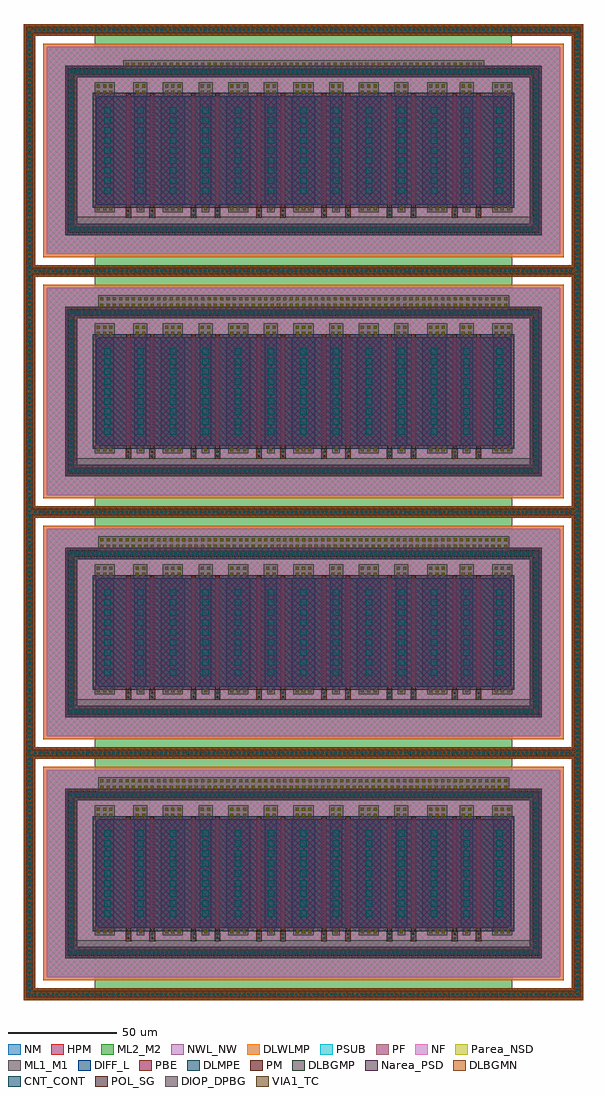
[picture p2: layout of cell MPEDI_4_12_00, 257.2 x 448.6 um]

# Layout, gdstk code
from math import pi, radians
import gdstk
lib = gdstk.Library(unit=1e-6, precision=1e-09)
def R(c, l, rs):  # rectangles x0, y0, x1, y1
    for r in rs: c.add(gdstk.rectangle(r[:2], r[2:], *l))
def A(c, l, x, y, w, h, nx, ny, dx, dy):  # array of equal rectangles
    R(c, l, [(x+i*dx, y+j*dy, x+i*dx+w, y+j*dy+h) for i in range(nx) for j in range(ny)])
def P(c, l, *ps):  # polygons
    for p in ps: c.add(gdstk.Polygon(p, *l))
DIFF_L = (3, 0)
NM = (7, 0)
POL_SG = (8, 0)
Narea_PSD = (9, 0)
CNT_CONT = (11, 0)
ML1_M1 = (13, 0)
VIA1_TC = (19, 0)
ML2_M2 = (20, 0)
NF = (25, 0)
PF = (26, 0)
Parea_NSD = (28, 0)
HPM = (33, 0)
PM = (35, 0)
NWL_NW = (36, 0)
DIOP_DPBG = (116, 0)
PSUB = (140, 0)
PBE = (146, 0)
DLWLMP = (150, 0)
DLMPE = (169, 0)
DLBGMP = (177, 0)
DLBGMN = (178, 0)

wlmp_cdns_696587145850 = lib.new_cell('WLMP_CDNS_696587145850')
R(wlmp_cdns_696587145850, NF, [(1.5,1.5,237.7,96.7)])
R(wlmp_cdns_696587145850, PF, [(1.5,1.5,237.7,96.7)])
R(wlmp_cdns_696587145850, NWL_NW, [(0,0,239.2,98.2)])
R(wlmp_cdns_696587145850, PSUB, [(1.5,1.5,237.7,96.7)])
R(wlmp_cdns_696587145850, DLWLMP, [(0,0,239.2,98.2)])

bgmp_cdns_696587145851 = lib.new_cell('BGMP_CDNS_696587145851')
R(bgmp_cdns_696587145851, DIFF_L, [(0,0,70,2.6)])
R(bgmp_cdns_696587145851, NM, [(-1.4,-1.4,71.4,4)])
R(bgmp_cdns_696587145851, Narea_PSD, [(-1.4,-1.4,71.4,4)])
A(bgmp_cdns_696587145851, CNT_CONT, 0.8, 0.8, 1, 1, 34, 1, 2, 0)
R(bgmp_cdns_696587145851, ML1_M1, [(0,0,70,2.6)])
R(bgmp_cdns_696587145851, HPM, [(-1.4,-1.4,71.4,4)])
R(bgmp_cdns_696587145851, PM, [(-1.4,-1.4,71.4,4)])

bgmp_cdns_696587145852 = lib.new_cell('BGMP_CDNS_696587145852')
R(bgmp_cdns_696587145852, DIFF_L, [(0,0,216.2,2.6)])
R(bgmp_cdns_696587145852, NM, [(-1.4,-1.4,217.6,4)])
R(bgmp_cdns_696587145852, Narea_PSD, [(-1.4,-1.4,217.6,4)])
A(bgmp_cdns_696587145852, CNT_CONT, 0.8, 0.8, 1, 1, 107, 1, 2, 0)
R(bgmp_cdns_696587145852, ML1_M1, [(0,0,216.2,2.6)])
R(bgmp_cdns_696587145852, HPM, [(-1.4,-1.4,217.6,4)])
R(bgmp_cdns_696587145852, PM, [(-1.4,-1.4,217.6,4)])

mpe_cdns_696587145853 = lib.new_cell('MPE_CDNS_696587145853')
R(mpe_cdns_696587145853, DIFF_L, [(10,0,12,50)])
P(mpe_cdns_696587145853, DIFF_L, [(12,0),(12,50),(24.6,50),(26,48.6),(26,1.4),(24.6,0)],
  [(1.4,0),(0,1.4),(0,48.6),(1.4,50),(10,50),(10,0)])
R(mpe_cdns_696587145853, NM, [(-1.4,-1.4,27.4,51.4)])
R(mpe_cdns_696587145853, POL_SG, [(10,-1.2,12,0), (10,-1.2,12,51.2), (10,50,12,51.2)])
A(mpe_cdns_696587145853, CNT_CONT, 4, 5.1, 3, 3, 1, 9, 0, 4.6)
A(mpe_cdns_696587145853, CNT_CONT, 19, 5.1, 3, 3, 1, 9, 0, 4.6)
R(mpe_cdns_696587145853, ML1_M1, [(2.8,0,8.2,50), (17.8,0,26,50)])
R(mpe_cdns_696587145853, Parea_NSD, [(-1.4,-1.4,27.4,51.4)])
R(mpe_cdns_696587145853, HPM, [(-1.4,-1.4,27.4,51.4)])
R(mpe_cdns_696587145853, DIOP_DPBG, [(10,0,12,50)])
R(mpe_cdns_696587145853, PBE, [(-1.4,-1.4,27.4,51.4)])
R(mpe_cdns_696587145853, DLMPE, [(-1.4,-1.4,27.4,51.4)])

tc14_cdns_696587145850 = lib.new_cell('TC14_CDNS_696587145850')
R(tc14_cdns_696587145850, ML1_M1, [(-82.9,-1.7,82.9,1.7)])
A(tc14_cdns_696587145850, VIA1_TC, -81.9, -0.7, 1.4, 1.4, 57, 1, 2.9, 0)
R(tc14_cdns_696587145850, ML2_M2, [(-82.9,-1.7,82.9,1.7)])

sgct_cdns_696587145851 = lib.new_cell('SGCT_CDNS_696587145851')
R(sgct_cdns_696587145851, POL_SG, [(-1.3,-2.3,1.3,2.3)])
R(sgct_cdns_696587145851, CNT_CONT, [(-0.5,-1.5,0.5,-0.5), (-0.5,0.5,0.5,1.5)])
R(sgct_cdns_696587145851, ML1_M1, [(-1.3,-2.3,1.3,2.3)])

tc14_cdns_696587145852 = lib.new_cell('TC14_CDNS_696587145852')
R(tc14_cdns_696587145852, ML1_M1, [(-4.6,-1.7,4.6,1.7)])
A(tc14_cdns_696587145852, VIA1_TC, -3.6, -0.7, 1.4, 1.4, 3, 1, 2.9, 0)
R(tc14_cdns_696587145852, ML2_M2, [(-4.6,-1.7,4.6,1.7)])

tc14_cdns_696587145853 = lib.new_cell('TC14_CDNS_696587145853')
R(tc14_cdns_696587145853, ML1_M1, [(-4.6,-3.1,4.6,3.2)])
A(tc14_cdns_696587145853, VIA1_TC, -3.6, -2.1, 1.4, 1.4, 3, 2, 2.9, 2.9)
R(tc14_cdns_696587145853, ML2_M2, [(-4.6,-3.1,4.6,3.2)])

tc14_cdns_696587145854 = lib.new_cell('TC14_CDNS_696587145854')
R(tc14_cdns_696587145854, ML1_M1, [(-1.7,-3.1,1.7,3.2)])
R(tc14_cdns_696587145854, VIA1_TC, [(-0.7,-2.1,0.7,-0.7), (-0.7,0.8,0.7,2.2)])
R(tc14_cdns_696587145854, ML2_M2, [(-1.7,-3.1,1.7,3.2)])

tc14_cdns_696587145855 = lib.new_cell('TC14_CDNS_696587145855')
R(tc14_cdns_696587145855, ML1_M1, [(-1.7,-1.7,1.7,1.7)])
R(tc14_cdns_696587145855, VIA1_TC, [(-0.7,-0.7,0.7,0.7)])
R(tc14_cdns_696587145855, ML2_M2, [(-1.7,-1.7,1.7,1.7)])

mpedi_12_00_int = lib.new_cell('MPEDI_12_00_int')
R(mpedi_12_00_int, POL_SG, [(38.1,22.7,40.1,22.9), (49.1,22.7,51.1,22.9), (68.1,22.7,70.1,22.9), (79.1,22.7,81.1,22.9), (98.1,22.7,100.1,22.9), (109.1,22.7,111.1,22.9), (128.1,22.7,130.1,22.9), (139.1,22.7,141.1,22.9), (158.1,22.7,160.1,22.9), (169.1,22.7,171.1,22.9), (188.1,22.7,190.1,22.9), (199.1,22.7,201.1,22.9)])
R(mpedi_12_00_int, ML1_M1, [(14.1,14.1,225.1,18.5)])
A(mpedi_12_00_int, ML2_M2, 55, 8.1, 9.2, 72.3, 4, 1, 30, 0)
A(mpedi_12_00_int, ML2_M2, 40, 20.7, 9.2, 69.8, 6, 1, 30, 0)
R(mpedi_12_00_int, ML2_M2, [(23.6,8.1,32.8,80.4), (23.6,8.1,25,9.5), (176.4,8.1,185.6,80.4), (206.4,8.1,215.6,80.4), (38,89.1,39.4,90.5)])
R(mpedi_12_00_int, DLBGMP, [(10.1,10.1,229.1,15.5), (10.1,12.7,15.5,85.5), (223.7,12.7,229.1,85.5), (10.1,82.7,229.1,88.1)])
mpedi_12_00_int.add(gdstk.FlexPath([(170.1,19.4),(170.1,17.2),(39.1,17.2),(39.1,19.4)], 2.6, ends="flush", simple_path=True, layer=13, datatype=0))  # ML1_M1
mpedi_12_00_int.add(gdstk.FlexPath([(226.4,11.1),(226.4,87.1)], 3.4, ends="flush", simple_path=True, layer=13, datatype=0))  # ML1_M1
mpedi_12_00_int.add(gdstk.FlexPath([(12.8,11.1),(12.8,87.1)], 3.4, ends="flush", simple_path=True, layer=13, datatype=0))  # ML1_M1
mpedi_12_00_int.add(gdstk.FlexPath([(11.1,85.4),(228.1,85.4)], 3.4, ends="flush", simple_path=True, layer=13, datatype=0))  # ML1_M1
mpedi_12_00_int.add(gdstk.FlexPath([(11.1,12.8),(228.1,12.8)], 3.4, ends="flush", simple_path=True, layer=13, datatype=0))  # ML1_M1
mpedi_12_00_int.add(gdstk.FlexPath([(215.6,9.6),(23.6,9.6)], 3, ends="flush", simple_path=True, layer=20, datatype=0))  # ML2_M2
mpedi_12_00_int.add(gdstk.Reference(wlmp_cdns_696587145850, (0,0)))
mpedi_12_00_int.add(gdstk.Reference(bgmp_cdns_696587145851, (14.1,14.1), rotation=pi/2))
mpedi_12_00_int.add(gdstk.Reference(bgmp_cdns_696587145851, (227.7,14.1), rotation=pi/2))
mpedi_12_00_int.add(gdstk.Reference(bgmp_cdns_696587145852, (11.5,11.5)))
mpedi_12_00_int.add(gdstk.Reference(bgmp_cdns_696587145852, (11.5,84.1)))
mpedi_12_00_int.add(gdstk.Reference(mpe_cdns_696587145853, (200.1,24.1), rotation=pi, x_reflection=True))
mpedi_12_00_int.add(gdstk.Reference(mpe_cdns_696587145853, (189.1,24.1)))
mpedi_12_00_int.add(gdstk.Reference(mpe_cdns_696587145853, (80.1,24.1), rotation=pi, x_reflection=True))
mpedi_12_00_int.add(gdstk.Reference(mpe_cdns_696587145853, (39.1,24.1)))
mpedi_12_00_int.add(gdstk.Reference(mpe_cdns_696587145853, (50.1,24.1), rotation=pi, x_reflection=True))
mpedi_12_00_int.add(gdstk.Reference(mpe_cdns_696587145853, (159.1,24.1)))
mpedi_12_00_int.add(gdstk.Reference(mpe_cdns_696587145853, (170.1,24.1), rotation=pi, x_reflection=True))
mpedi_12_00_int.add(gdstk.Reference(mpe_cdns_696587145853, (99.1,24.1)))
mpedi_12_00_int.add(gdstk.Reference(mpe_cdns_696587145853, (140.1,24.1), rotation=pi, x_reflection=True))
mpedi_12_00_int.add(gdstk.Reference(mpe_cdns_696587145853, (129.1,24.1)))
mpedi_12_00_int.add(gdstk.Reference(mpe_cdns_696587145853, (69.1,24.1)))
mpedi_12_00_int.add(gdstk.Reference(mpe_cdns_696587145853, (110.1,24.1), rotation=pi, x_reflection=True))
mpedi_12_00_int.add(gdstk.Reference(tc14_cdns_696587145850, (119.7,88.8)))
mpedi_12_00_int.add(gdstk.Reference(sgct_cdns_696587145851, (200.1,20.4)))
mpedi_12_00_int.add(gdstk.Reference(sgct_cdns_696587145851, (189.1,20.4)))
mpedi_12_00_int.add(gdstk.Reference(sgct_cdns_696587145851, (170.1,20.4)))
mpedi_12_00_int.add(gdstk.Reference(sgct_cdns_696587145851, (159.1,20.4)))
mpedi_12_00_int.add(gdstk.Reference(sgct_cdns_696587145851, (140.1,20.4)))
mpedi_12_00_int.add(gdstk.Reference(sgct_cdns_696587145851, (129.1,20.4)))
mpedi_12_00_int.add(gdstk.Reference(sgct_cdns_696587145851, (110.1,20.4)))
mpedi_12_00_int.add(gdstk.Reference(sgct_cdns_696587145851, (99.1,20.4)))
mpedi_12_00_int.add(gdstk.Reference(sgct_cdns_696587145851, (80.1,20.4)))
mpedi_12_00_int.add(gdstk.Reference(sgct_cdns_696587145851, (69.1,20.4)))
mpedi_12_00_int.add(gdstk.Reference(sgct_cdns_696587145851, (50.1,20.4)))
mpedi_12_00_int.add(gdstk.Reference(sgct_cdns_696587145851, (39.1,20.4)))
mpedi_12_00_int.add(gdstk.Reference(tc14_cdns_696587145852, (211,22.4)))
mpedi_12_00_int.add(gdstk.Reference(tc14_cdns_696587145852, (181,22.4)))
mpedi_12_00_int.add(gdstk.Reference(tc14_cdns_696587145852, (149.6,22.4)))
mpedi_12_00_int.add(gdstk.Reference(tc14_cdns_696587145852, (119.6,22.4)))
mpedi_12_00_int.add(gdstk.Reference(tc14_cdns_696587145852, (89.6,22.4)))
mpedi_12_00_int.add(gdstk.Reference(tc14_cdns_696587145852, (59.6,22.4)))
mpedi_12_00_int.add(gdstk.Reference(tc14_cdns_696587145852, (28.2,22.4)))
mpedi_12_00_int.add(gdstk.Reference(tc14_cdns_696587145853, (211,77.2)))
mpedi_12_00_int.add(gdstk.Reference(tc14_cdns_696587145853, (181,77.2)))
mpedi_12_00_int.add(gdstk.Reference(tc14_cdns_696587145853, (149.6,77.2)))
mpedi_12_00_int.add(gdstk.Reference(tc14_cdns_696587145853, (119.6,77.2)))
mpedi_12_00_int.add(gdstk.Reference(tc14_cdns_696587145853, (89.6,77.2)))
mpedi_12_00_int.add(gdstk.Reference(tc14_cdns_696587145853, (59.6,77.2)))
mpedi_12_00_int.add(gdstk.Reference(tc14_cdns_696587145853, (28.2,77.2)))
mpedi_12_00_int.add(gdstk.Reference(tc14_cdns_696587145854, (196.1,77.2)))
mpedi_12_00_int.add(gdstk.Reference(tc14_cdns_696587145854, (193.1,77.2)))
mpedi_12_00_int.add(gdstk.Reference(tc14_cdns_696587145854, (166.1,77.2)))
mpedi_12_00_int.add(gdstk.Reference(tc14_cdns_696587145854, (163.1,77.2)))
mpedi_12_00_int.add(gdstk.Reference(tc14_cdns_696587145854, (136.1,77.2)))
mpedi_12_00_int.add(gdstk.Reference(tc14_cdns_696587145854, (133.1,77.2)))
mpedi_12_00_int.add(gdstk.Reference(tc14_cdns_696587145854, (106.1,77.2)))
mpedi_12_00_int.add(gdstk.Reference(tc14_cdns_696587145854, (103.1,77.2)))
mpedi_12_00_int.add(gdstk.Reference(tc14_cdns_696587145854, (76.1,77.2)))
mpedi_12_00_int.add(gdstk.Reference(tc14_cdns_696587145854, (73.1,77.2)))
mpedi_12_00_int.add(gdstk.Reference(tc14_cdns_696587145854, (46.1,77.2)))
mpedi_12_00_int.add(gdstk.Reference(tc14_cdns_696587145854, (43.1,77.2)))
mpedi_12_00_int.add(gdstk.Reference(tc14_cdns_696587145855, (194.6,22.4)))
mpedi_12_00_int.add(gdstk.Reference(tc14_cdns_696587145855, (164.6,22.4)))
mpedi_12_00_int.add(gdstk.Reference(tc14_cdns_696587145855, (134.6,22.4)))
mpedi_12_00_int.add(gdstk.Reference(tc14_cdns_696587145855, (104.6,22.4)))
mpedi_12_00_int.add(gdstk.Reference(tc14_cdns_696587145855, (74.6,22.4)))
mpedi_12_00_int.add(gdstk.Reference(tc14_cdns_696587145855, (44.7,22.4)))

bgmn_cdns_696587074634 = lib.new_cell('BGMN_CDNS_696587074634')
R(bgmn_cdns_696587074634, DIFF_L, [(0,0,249.2,2.6)])
R(bgmn_cdns_696587074634, NM, [(-1.4,-1.4,250.6,4)])
A(bgmn_cdns_696587074634, CNT_CONT, 0.8, 0.8, 1, 1, 124, 1, 2, 0)
R(bgmn_cdns_696587074634, ML1_M1, [(0,0,249.2,2.6)])
R(bgmn_cdns_696587074634, Parea_NSD, [(-1.4,-1.4,250.6,4)])
R(bgmn_cdns_696587074634, HPM, [(-1.4,-1.4,250.6,4)])
R(bgmn_cdns_696587074634, PM, [(-1.4,-1.4,250.6,4)])

bgmn_cdns_696587074635 = lib.new_cell('BGMN_CDNS_696587074635')
R(bgmn_cdns_696587074635, DIFF_L, [(0,0,445.8,2.6)])
R(bgmn_cdns_696587074635, NM, [(-1.4,-1.4,447.2,4)])
A(bgmn_cdns_696587074635, CNT_CONT, 0.8, 0.8, 1, 1, 222, 1, 2, 0)
R(bgmn_cdns_696587074635, ML1_M1, [(0,0,445.8,2.6)])
R(bgmn_cdns_696587074635, Parea_NSD, [(-1.4,-1.4,447.2,4)])
R(bgmn_cdns_696587074635, HPM, [(-1.4,-1.4,447.2,4)])
R(bgmn_cdns_696587074635, PM, [(-1.4,-1.4,447.2,4)])

tc14_cdns_696587074630 = lib.new_cell('TC14_CDNS_696587074630')
R(tc14_cdns_696587074630, ML1_M1, [(-94.5,-3,94.5,3.3)])
A(tc14_cdns_696587074630, VIA1_TC, -93.5, -2, 1.4, 1.4, 65, 2, 2.9, 2.9)
R(tc14_cdns_696587074630, ML2_M2, [(-94.5,-3,94.5,3.3)])

mpedi_4_12_00 = lib.new_cell('MPEDI_4_12_00')
R(mpedi_4_12_00, ML2_M2, [(32.6,0,224.6,20.1), (32.6,0,224.6,20.1), (32.6,17.1,34,18.5), (32.6,96.1,224.6,130.9), (32.6,96.1,224.6,130.9), (32.6,206.9,224.6,241.7), (32.6,206.9,224.6,241.7), (32.6,317.7,224.6,337.8), (32.6,317.7,224.6,352.5), (32.6,428.5,224.4,448.6), (32.7,447.1,34.1,448.5)])
A(mpedi_4_12_00, DLBGMN, 2.6, 0, 252, 5.4, 1, 5, 0, 110.8)
R(mpedi_4_12_00, DLBGMN, [(0,0,5.4,448.6), (251.8,0,257.2,448.6)])
mpedi_4_12_00.add(gdstk.FlexPath([(1,113.5),(256.2,113.5)], 3.4, ends="flush", simple_path=True, layer=13, datatype=0))  # ML1_M1
mpedi_4_12_00.add(gdstk.FlexPath([(1,335.1),(256.2,335.1)], 3.4, ends="flush", simple_path=True, layer=13, datatype=0))  # ML1_M1
mpedi_4_12_00.add(gdstk.FlexPath([(1,224.3),(256.2,224.3)], 3.4, ends="flush", simple_path=True, layer=13, datatype=0))  # ML1_M1
mpedi_4_12_00.add(gdstk.FlexPath([(1,2.7),(256.2,2.7)], 3.4, ends="flush", simple_path=True, layer=13, datatype=0))  # ML1_M1
mpedi_4_12_00.add(gdstk.FlexPath([(254.5,1),(254.5,447.6)], 3.4, ends="flush", simple_path=True, layer=13, datatype=0))  # ML1_M1
mpedi_4_12_00.add(gdstk.FlexPath([(1,445.9),(256.2,445.9)], 3.4, ends="flush", simple_path=True, layer=13, datatype=0))  # ML1_M1
mpedi_4_12_00.add(gdstk.FlexPath([(2.7,1),(2.7,447.6)], 3.4, ends="flush", simple_path=True, layer=13, datatype=0))  # ML1_M1
mpedi_4_12_00.add(gdstk.Reference(mpedi_12_00_int, (9,9)))
mpedi_4_12_00.add(gdstk.Reference(mpedi_12_00_int, (9,119.8)))
mpedi_4_12_00.add(gdstk.Reference(mpedi_12_00_int, (9,230.6)))
mpedi_4_12_00.add(gdstk.Reference(mpedi_12_00_int, (9,341.4)))
mpedi_4_12_00.add(gdstk.Reference(bgmn_cdns_696587074634, (4,333.8)))
mpedi_4_12_00.add(gdstk.Reference(bgmn_cdns_696587074634, (4,1.4)))
mpedi_4_12_00.add(gdstk.Reference(bgmn_cdns_696587074634, (4,444.6)))
mpedi_4_12_00.add(gdstk.Reference(bgmn_cdns_696587074634, (4,112.2)))
mpedi_4_12_00.add(gdstk.Reference(bgmn_cdns_696587074634, (4,223)))
mpedi_4_12_00.add(gdstk.Reference(bgmn_cdns_696587074635, (255.8,1.4), rotation=pi/2))
mpedi_4_12_00.add(gdstk.Reference(bgmn_cdns_696587074635, (4,1.4), rotation=pi/2))
mpedi_4_12_00.add(gdstk.Reference(tc14_cdns_696587074630, (128.7,320.7)))
mpedi_4_12_00.add(gdstk.Reference(tc14_cdns_696587074630, (128.7,99.1)))
mpedi_4_12_00.add(gdstk.Reference(tc14_cdns_696587074630, (128.7,209.9)))

lib.write_gds('MPEDI_4_12_00.gds')
